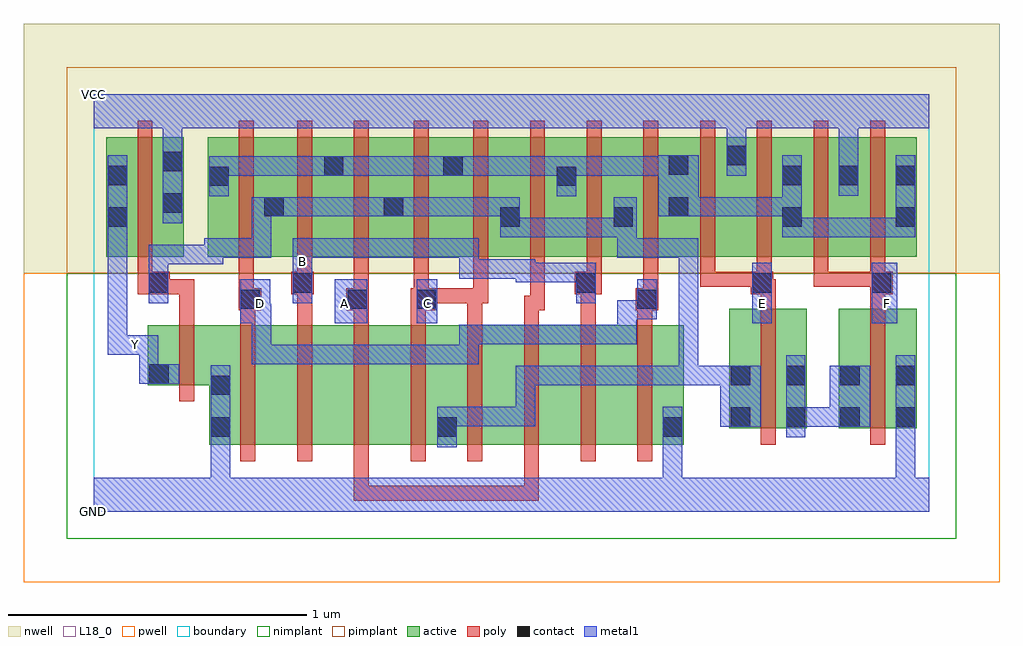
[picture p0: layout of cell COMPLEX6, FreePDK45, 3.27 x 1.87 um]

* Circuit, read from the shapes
.subckt COMPLEX6 A B C D E F GND VCC Y
M1 GND n1 Y VSUBS nfet w=0.2u l=0.05u
M2 n2 D GND VSUBS nfet w=0.4u l=0.05u
M3 n3 B n2 VSUBS nfet w=0.4u l=0.05u
M4 n4 A n3 VSUBS nfet w=0.4u l=0.05u
M5 n1 C n4 VSUBS nfet w=0.4u l=0.05u
M6 n5 C n1 VSUBS nfet w=0.4u l=0.05u
M7 n6 A n5 VSUBS nfet w=0.4u l=0.05u
M8 n7 B n6 VSUBS nfet w=0.4u l=0.05u
M9 GND D n7 VSUBS nfet w=0.4u l=0.05u
M10 n8 E n1 VSUBS nfet w=0.4u l=0.05u
M11 GND F n8 VSUBS nfet w=0.4u l=0.05u
M12 VCC n1 Y n9 pfet w=0.4u l=0.05u
M13 n1 D n10 n9 pfet w=0.4u l=0.05u m=2
M14 n10 B n1 n9 pfet w=0.4u l=0.05u m=2
M15 n1 A n10 n9 pfet w=0.4u l=0.05u m=2
M16 n10 C n1 n9 pfet w=0.4u l=0.05u m=2
M17 VCC E n10 n9 pfet w=0.4u l=0.05u m=2
M18 VCC F n10 n9 pfet w=0.4u l=0.05u m=2
.ends

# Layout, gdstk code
import gdstk
lib = gdstk.Library(unit=1e-6, precision=1e-09)
def R(c, l, rs):  # rectangles x0, y0, x1, y1
    for r in rs: c.add(gdstk.rectangle(r[:2], r[2:], *l))
def A(c, l, x, y, w, h, nx, ny, dx, dy):  # array of equal rectangles
    R(c, l, [(x+i*dx, y+j*dy, x+i*dx+w, y+j*dy+h) for i in range(nx) for j in range(ny)])
active = (1, 0)
pwell = (2, 0)
nwell = (3, 0)
nimplant = (4, 0)
pimplant = (5, 0)
poly = (9, 0)
contact = (10, 0)
metal1 = (11, 0)
L18_0 = (18, 0)
boundary = (235, 0)

complex6 = lib.new_cell('COMPLEX6')
A(complex6, active, 0.567, 0.855, 0.275, 0.4, 3, 1, 0.2, 0)
A(complex6, active, 1.167, 0.855, 0.265, 0.4, 3, 1, 0.19, 0)
A(complex6, active, 1.922, 0.855, 0.075, 0.345, 3, 1, 0.38, 0)
R(complex6, active, [(0.387,0.225,0.612,0.625), (0.612,0.225,0.802,0.625), (0.802,0.225,0.992,0.625), (0.992,0.225,1.222,0.625), (1.147,0.225,1.372,0.625), (1.147,0.225,1.222,0.477), (1.372,0.225,1.562,0.625), (1.562,0.225,1.752,0.625), (1.752,0.225,1.977,0.625), (1.902,0.225,1.977,0.492), (0.387,0.247,0.462,0.537), (2.13,0.28,2.205,0.68), (2.13,0.28,2.39,0.68), (2.315,0.28,2.39,0.68), (2.497,0.28,2.572,0.68), (2.497,0.28,2.757,0.68), (2.682,0.28,2.757,0.68), (0.182,0.425,0.462,0.625), (0.182,0.425,0.257,0.625), (0.042,0.855,0.302,1.255), (0.042,0.855,0.117,1.2), (0.227,0.855,0.302,1.255), (0.382,0.855,0.642,1.255), (0.382,0.855,0.457,1.2), (0.567,0.855,0.642,1.07), (1.357,0.855,1.432,1.07), (1.547,0.855,1.622,1.2), (1.737,0.855,1.997,1.255), (1.737,0.855,1.812,1.07), (1.922,0.855,2.192,1.255), (2.117,0.855,2.192,1.255), (2.117,0.855,2.377,1.255), (2.302,0.855,2.567,1.255), (2.492,0.855,2.567,1.255), (2.492,0.855,2.757,1.255), (0.767,0.907,0.842,1.2), (0.967,0.907,1.042,1.07), (1.167,0.907,1.242,1.2)])
R(complex6, pwell, [(-0.235,-0.235,3.035,0.8)])
R(complex6, nwell, [(-0.235,0.8,3.035,1.635)])
R(complex6, nimplant, [(-0.09,-0.09,2.89,0.8)])
R(complex6, pimplant, [(-0.09,0.8,2.89,1.49)])
A(complex6, poly, 0.492, 0.17, 0.05, 0.51, 8, 1, 0.19, 0)
A(complex6, poly, 1.062, 0.63, 0.05, 0.095, 3, 1, 0.38, 0)
A(complex6, poly, 0.872, 0.7, 0.05, 0.15, 3, 1, 0.2, 0)
A(complex6, poly, 2.032, 0.755, 0.05, 0.095, 4, 1, 0.19, 0)
A(complex6, poly, 0.872, 0.8, 0.05, 0.51, 3, 1, 0.2, 0)
A(complex6, poly, 1.462, 0.8, 0.05, 0.51, 7, 1, 0.19, 0)
R(complex6, poly, [(0.872,0.037,0.922,0.087), (0.872,0.037,0.922,0.087), (0.872,0.037,0.922,0.087), (0.872,0.037,0.922,0.22), (0.872,0.037,1.17,0.087), (1.12,0.037,1.17,0.087), (1.12,0.037,1.17,0.087), (1.12,0.037,1.17,0.087), (1.12,0.037,1.302,0.087), (1.252,0.037,1.302,0.087), (1.252,0.037,1.492,0.087), (1.442,0.037,1.492,0.087), (1.442,0.037,1.492,0.087), (1.442,0.037,1.492,0.087), (1.442,0.037,1.492,0.22), (2.235,0.225,2.285,0.735), (2.602,0.225,2.652,0.735), (0.287,0.37,0.337,0.68), (0.287,0.63,0.337,0.78), (0.492,0.63,0.542,0.725), (0.682,0.63,0.732,0.78), (0.872,0.63,0.922,0.725), (1.252,0.63,1.302,0.75), (1.632,0.63,1.682,0.78), (0.487,0.675,0.562,0.75), (0.847,0.675,0.922,0.75), (1.062,0.675,1.152,0.75), (1.442,0.675,1.492,0.725), (1.442,0.675,1.492,0.725), (1.442,0.675,1.512,0.725), (1.462,0.675,1.512,0.85), (1.817,0.675,1.892,0.75), (2.235,0.685,2.285,0.78), (2.602,0.685,2.652,0.78), (0.487,0.7,0.537,0.75), (0.487,0.7,0.537,0.75), (0.487,0.7,0.537,0.85), (0.872,0.7,0.922,0.75), (0.872,0.7,0.922,0.75), (1.072,0.7,1.122,0.75), (1.072,0.7,1.122,0.75), (1.102,0.7,1.302,0.75), (1.252,0.7,1.302,0.75), (1.252,0.7,1.302,0.75), (1.252,0.7,1.322,0.75), (1.272,0.7,1.322,0.75), (1.272,0.7,1.322,0.75), (1.842,0.7,1.892,0.75), (1.842,0.7,1.892,0.75), (1.842,0.7,1.892,0.85), (0.147,0.73,0.255,0.805), (0.205,0.73,0.255,0.78), (0.205,0.73,0.337,0.78), (0.662,0.73,0.737,0.805), (0.682,0.73,0.732,0.78), (0.682,0.73,0.732,0.78), (1.612,0.73,1.702,0.805), (1.632,0.73,1.682,0.78), (1.632,0.73,1.682,0.78), (2.202,0.73,2.277,0.805), (2.227,0.73,2.277,0.78), (2.227,0.73,2.285,0.78), (2.602,0.73,2.652,0.78), (2.602,0.73,2.652,0.78), (2.602,0.73,2.677,0.805), (0.147,0.755,0.197,0.85), (0.682,0.755,0.732,0.85), (1.652,0.755,1.702,0.85), (2.032,0.755,2.082,0.805), (2.032,0.755,2.252,0.805), (2.202,0.755,2.252,0.805), (2.202,0.755,2.252,0.805), (2.412,0.755,2.462,0.805), (2.412,0.755,2.462,0.805), (2.412,0.755,2.462,0.805), (2.412,0.755,2.652,0.805), (0.147,0.8,0.197,1.31), (0.487,0.8,0.537,1.31), (0.682,0.8,0.732,1.31)])
A(complex6, contact, 2.307, 1.095, 0.065, 0.065, 3, 1, 0.19, 0)
R(complex6, contact, [(0.392,0.252,0.457,0.317), (1.152,0.252,1.217,0.317), (1.907,0.252,1.972,0.317), (2.135,0.285,2.2,0.35), (2.32,0.285,2.385,0.35), (2.502,0.285,2.567,0.35), (2.687,0.285,2.752,0.35), (0.392,0.392,0.457,0.457), (2.135,0.425,2.2,0.49), (2.32,0.425,2.385,0.49), (2.502,0.425,2.567,0.49), (2.687,0.425,2.752,0.49), (0.187,0.43,0.252,0.495), (0.492,0.68,0.557,0.745), (0.852,0.68,0.917,0.745), (1.082,0.68,1.147,0.745), (1.822,0.68,1.887,0.745), (0.185,0.735,0.25,0.8), (0.667,0.735,0.732,0.8), (1.617,0.735,1.682,0.8), (2.207,0.735,2.272,0.8), (2.607,0.735,2.672,0.8), (0.047,0.955,0.112,1.02), (1.362,0.955,1.427,1.02), (1.742,0.955,1.807,1.02), (2.307,0.955,2.372,1.02), (2.687,0.955,2.752,1.02), (0.572,0.99,0.637,1.055), (0.972,0.99,1.037,1.055), (1.927,0.99,1.992,1.055), (0.232,1.002,0.297,1.067), (0.387,1.092,0.452,1.157), (1.552,1.092,1.617,1.157), (0.047,1.095,0.112,1.16), (0.772,1.127,0.837,1.192), (1.172,1.127,1.237,1.192), (1.927,1.13,1.992,1.195), (0.232,1.142,0.297,1.207), (2.122,1.162,2.187,1.227)])
R(complex6, metal1, [(0,0,2.8,0.115), (0.392,0.05,0.457,0.282), (1.907,0.05,1.972,0.115), (1.907,0.05,1.972,0.115), (1.907,0.05,1.972,0.282), (2.687,0.05,2.752,0.315), (2.687,0.05,2.752,0.115), (2.687,0.05,2.752,0.115), (0.392,0.217,0.457,0.492), (0.392,0.217,0.457,0.282), (0.392,0.217,0.457,0.282), (1.152,0.217,1.217,0.352), (1.907,0.217,1.972,0.352), (2.32,0.25,2.385,0.525), (2.687,0.25,2.752,0.525), (2.1,0.285,2.235,0.49), (2.32,0.285,2.385,0.35), (2.32,0.285,2.385,0.35), (2.32,0.285,2.532,0.35), (2.467,0.285,2.602,0.49), (1.152,0.287,1.29,0.352), (1.225,0.287,1.29,0.352), (1.225,0.287,1.48,0.352), (1.415,0.287,1.48,0.352), (1.415,0.287,1.48,0.49), (1.415,0.425,1.48,0.49), (1.415,0.425,1.48,0.49), (1.415,0.425,1.48,0.49), (1.415,0.425,1.67,0.49), (1.605,0.425,1.67,0.49), (1.605,0.425,1.67,0.49), (1.605,0.425,1.67,0.49), (1.605,0.425,1.82,0.49), (1.755,0.425,1.82,0.49), (1.755,0.425,1.82,0.49), (1.755,0.425,1.82,0.49), (1.755,0.425,2.025,0.49), (1.96,0.425,2.025,0.49), (1.96,0.425,2.025,0.49), (1.96,0.425,2.025,0.49), (1.96,0.425,2.165,0.49), (1.96,0.425,2.025,0.917), (0.152,0.43,0.287,0.495), (0.152,0.43,0.217,0.592), (0.53,0.495,0.595,0.56), (0.53,0.495,0.732,0.56), (0.53,0.495,0.595,0.697), (0.667,0.495,0.732,0.56), (0.667,0.495,0.81,0.56), (0.745,0.495,0.81,0.56), (0.745,0.495,0.927,0.56), (0.862,0.495,0.927,0.56), (0.862,0.495,1.065,0.56), (1,0.495,1.065,0.56), (1,0.495,1.065,0.56), (1,0.495,1.065,0.56), (1,0.495,1.29,0.56), (1.225,0.495,1.29,0.56), (1.225,0.495,1.29,0.627), (0.047,0.527,0.112,0.592), (0.047,0.527,0.112,0.592), (0.047,0.527,0.112,0.985), (0.047,0.527,0.217,0.592), (1.225,0.562,1.29,0.627), (1.225,0.562,1.29,0.627), (1.225,0.562,1.29,0.627), (1.225,0.562,1.48,0.627), (1.415,0.562,1.48,0.627), (1.415,0.562,1.48,0.627), (1.415,0.562,1.48,0.627), (1.415,0.562,1.67,0.627), (1.605,0.562,1.67,0.627), (1.605,0.562,1.67,0.627), (1.605,0.562,1.67,0.627), (1.605,0.562,1.82,0.627), (1.755,0.562,1.82,0.71), (0.492,0.632,0.592,0.78), (0.527,0.632,0.595,0.697), (0.53,0.632,0.595,0.697), (0.807,0.632,0.917,0.78), (1.082,0.632,1.152,0.78), (2.207,0.632,2.272,0.835), (2.607,0.632,2.692,0.835), (1.755,0.645,1.887,0.71), (1.822,0.645,1.887,0.78), (0.185,0.7,0.25,0.835), (0.667,0.7,0.732,0.917), (1.617,0.7,1.682,0.835), (0.185,0.77,0.25,0.835), (0.185,0.77,0.25,0.895), (1.415,0.77,1.48,0.835), (1.415,0.77,1.48,0.835), (1.415,0.77,1.67,0.835), (1.415,0.77,1.48,0.847), (1.605,0.77,1.67,0.835), (1.605,0.77,1.682,0.835), (1.225,0.782,1.48,0.847), (1.225,0.782,1.29,0.85), (1.225,0.785,1.29,0.85), (1.225,0.785,1.29,0.917), (0.185,0.83,0.435,0.895), (0.37,0.83,0.435,0.917), (0.37,0.852,0.595,0.917), (0.53,0.852,0.595,0.917), (0.53,0.852,0.595,0.917), (0.53,0.852,0.595,0.917), (0.53,0.852,0.595,1.055), (0.667,0.852,0.865,0.917), (0.8,0.852,0.865,0.917), (0.8,0.852,0.87,0.917), (0.805,0.852,0.87,0.917), (0.805,0.852,1.065,0.917), (1,0.852,1.065,0.917), (1,0.852,1.065,0.917), (1,0.852,1.065,0.917), (1,0.852,1.29,0.917), (1.755,0.852,1.82,0.917), (1.755,0.852,1.82,0.917), (1.755,0.852,1.82,0.917), (1.755,0.852,2.025,0.917), (1.755,0.852,1.82,0.985), (1.96,0.852,2.025,0.917), (1.96,0.852,2.025,0.917), (1.96,0.852,2.025,0.917), (0.047,0.92,0.112,1.195), (1.362,0.92,1.427,0.985), (1.362,0.92,1.427,0.985), (1.362,0.92,1.427,1.055), (1.362,0.92,1.67,0.985), (1.605,0.92,1.67,0.985), (1.605,0.92,1.67,0.985), (1.605,0.92,1.67,0.985), (1.605,0.92,1.807,0.985), (1.742,0.92,1.82,1.055), (2.307,0.92,2.372,1.195), (2.307,0.92,2.372,0.985), (2.307,0.92,2.372,0.985), (2.307,0.92,2.522,0.985), (2.457,0.92,2.752,0.985), (2.457,0.92,2.522,0.985), (2.457,0.92,2.522,0.985), (2.457,0.92,2.522,0.985), (2.687,0.92,2.752,1.195), (0.232,0.967,0.297,1.242), (0.53,0.99,0.672,1.055), (0.607,0.99,0.732,1.055), (0.667,0.99,0.732,1.055), (0.667,0.99,0.81,1.055), (0.745,0.99,0.81,1.055), (0.745,0.99,0.927,1.055), (0.862,0.99,0.927,1.055), (0.862,0.99,1.002,1.055), (0.937,0.99,1.072,1.055), (1.007,0.99,1.072,1.055), (1.007,0.99,1.072,1.055), (1.007,0.99,1.29,1.055), (1.225,0.99,1.29,1.055), (1.225,0.99,1.29,1.055), (1.225,0.99,1.29,1.055), (1.225,0.99,1.427,1.055), (1.892,0.99,2.027,1.195), (1.962,0.99,2.027,1.055), (1.962,0.99,2.027,1.055), (1.962,0.99,2.235,1.055), (2.17,0.99,2.235,1.055), (2.17,0.99,2.235,1.055), (2.17,0.99,2.235,1.055), (2.17,0.99,2.372,1.055), (0.387,1.057,0.452,1.192), (1.552,1.057,1.617,1.192), (2.497,1.06,2.562,1.195), (0.387,1.127,0.595,1.192), (0.53,1.127,0.595,1.192), (0.53,1.127,0.595,1.192), (0.53,1.127,0.595,1.192), (0.53,1.127,0.732,1.192), (0.667,1.127,0.732,1.192), (0.667,1.127,0.802,1.192), (0.737,1.127,0.872,1.192), (0.807,1.127,0.872,1.192), (0.807,1.127,0.872,1.192), (0.807,1.127,1.065,1.192), (1,1.127,1.065,1.192), (1,1.127,1.065,1.192), (1,1.127,1.065,1.192), (1,1.127,1.202,1.192), (1.137,1.127,1.272,1.192), (1.207,1.127,1.29,1.192), (1.225,1.127,1.29,1.192), (1.225,1.127,1.48,1.192), (1.415,1.127,1.48,1.192), (1.415,1.127,1.48,1.192), (1.415,1.127,1.48,1.192), (1.415,1.127,1.617,1.192), (1.552,1.127,1.617,1.192), (1.552,1.127,1.617,1.192), (1.552,1.127,1.82,1.192), (1.755,1.127,1.82,1.192), (1.755,1.127,1.82,1.192), (1.755,1.127,1.82,1.192), (1.755,1.127,1.957,1.192), (2.122,1.127,2.187,1.262), (2.497,1.13,2.562,1.35), (0.232,1.177,0.297,1.35), (2.122,1.197,2.187,1.35), (0,1.285,2.8,1.4)])
A(complex6, L18_0, 0.527, 0.667, 0.065, 0.065, 3, 1, 0.28, 0)
R(complex6, L18_0, [(0,0,2.8,0.115), (0.392,0.05,0.457,0.282), (1.907,0.05,1.972,0.115), (1.907,0.05,1.972,0.115), (1.907,0.05,1.972,0.282), (2.687,0.05,2.752,0.115), (2.687,0.05,2.752,0.115), (2.687,0.05,2.752,0.315), (0.392,0.217,0.457,0.282), (0.392,0.217,0.457,0.282), (0.392,0.217,0.457,0.492), (1.907,0.217,1.972,0.352), (2.687,0.25,2.752,0.525), (0.152,0.43,0.287,0.495), (0.152,0.43,0.217,0.592), (0.53,0.495,0.595,0.56), (0.53,0.495,0.595,0.697), (0.53,0.495,0.732,0.56), (0.667,0.495,0.732,0.56), (0.667,0.495,0.81,0.56), (0.745,0.495,0.81,0.56), (0.745,0.495,0.927,0.56), (0.862,0.495,0.927,0.56), (0.862,0.495,1.065,0.56), (1,0.495,1.065,0.56), (1,0.495,1.065,0.56), (1,0.495,1.065,0.56), (1,0.495,1.29,0.56), (1.225,0.495,1.29,0.56), (1.225,0.495,1.29,0.627), (0.047,0.527,0.217,0.592), (0.047,0.527,0.112,0.592), (0.047,0.527,0.112,0.592), (0.047,0.527,0.112,0.985), (0.107,0.527,0.172,0.592), (1.225,0.562,1.29,0.627), (1.225,0.562,1.29,0.627), (1.225,0.562,1.29,0.627), (1.225,0.562,1.48,0.627), (1.415,0.562,1.48,0.627), (1.415,0.562,1.48,0.627), (1.415,0.562,1.48,0.627), (1.415,0.562,1.67,0.627), (1.605,0.562,1.67,0.627), (1.605,0.562,1.67,0.627), (1.605,0.562,1.67,0.627), (1.605,0.562,1.82,0.627), (1.755,0.562,1.82,0.71), (0.492,0.632,0.592,0.78), (0.527,0.632,0.595,0.697), (0.53,0.632,0.595,0.697), (0.807,0.632,0.917,0.78), (1.082,0.632,1.152,0.78), (2.207,0.632,2.272,0.835), (2.607,0.632,2.692,0.835), (1.755,0.645,1.887,0.71), (1.822,0.645,1.887,0.78), (2.207,0.667,2.272,0.732), (2.627,0.667,2.692,0.732), (0.667,0.7,0.732,0.917), (1.617,0.7,1.682,0.835), (1.415,0.77,1.48,0.835), (1.415,0.77,1.48,0.835), (1.415,0.77,1.67,0.835), (1.415,0.77,1.48,0.847), (1.605,0.77,1.67,0.835), (1.605,0.77,1.682,0.835), (1.225,0.782,1.29,0.85), (1.225,0.782,1.48,0.847), (1.225,0.785,1.29,0.85), (1.225,0.785,1.29,0.917), (0.667,0.807,0.732,0.872), (0.667,0.852,0.865,0.917), (0.8,0.852,0.865,0.917), (0.8,0.852,0.87,0.917), (0.805,0.852,0.87,0.917), (0.805,0.852,1.065,0.917), (1,0.852,1.065,0.917), (1,0.852,1.065,0.917), (1,0.852,1.065,0.917), (1,0.852,1.29,0.917), (0.047,0.92,0.112,1.195), (0.232,0.967,0.297,1.242), (2.497,1.06,2.562,1.195), (2.122,1.127,2.187,1.262), (2.497,1.13,2.562,1.35), (0.232,1.177,0.297,1.35), (2.122,1.197,2.187,1.35), (0,1.285,2.8,1.4)])
R(complex6, boundary, [(0,0,2.8,1.4)])
complex6.add(gdstk.Label('A', (0.84,0.7), layer=11, texttype=0))
complex6.add(gdstk.Label('B', (0.7,0.84), layer=11, texttype=0))
complex6.add(gdstk.Label('C', (1.12,0.7), layer=11, texttype=0))
complex6.add(gdstk.Label('D', (0.56,0.7), layer=11, texttype=0))
complex6.add(gdstk.Label('E', (2.24,0.7), layer=11, texttype=0))
complex6.add(gdstk.Label('F', (2.66,0.7), layer=11, texttype=0))
complex6.add(gdstk.Label('Y', (0.14,0.56), layer=11, texttype=0))
complex6.add(gdstk.Label('VCC', (0,1.4), layer=11, texttype=0))
complex6.add(gdstk.Label('GND', (0,0), layer=11, texttype=0))

lib.write_gds('COMPLEX6.gds')
